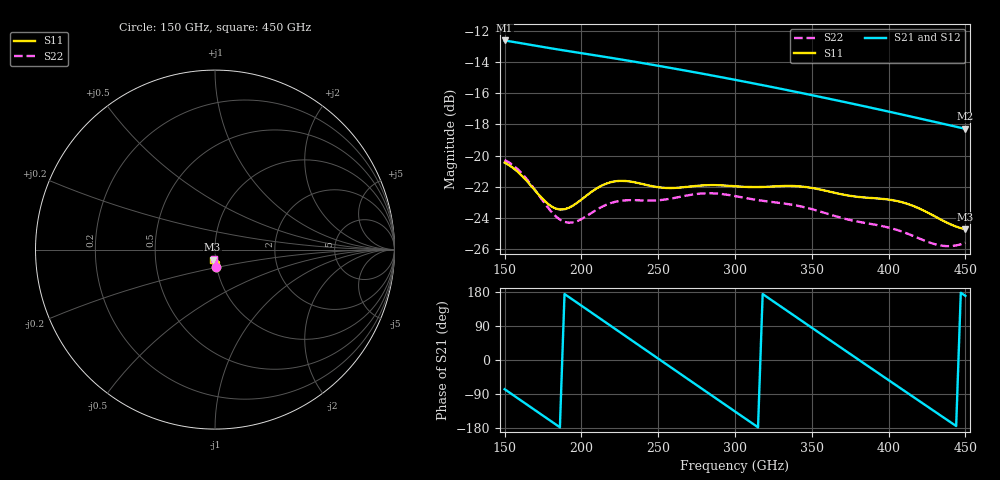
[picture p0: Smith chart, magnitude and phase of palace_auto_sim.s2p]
#  GHZ S DB R 50
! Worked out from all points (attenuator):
!   101 points, 150 GHz to 450 GHz, reference 50 ohm
!   highest |S21| = -12.63 dB at 150 GHz (marker M1); lowest = -18.3 dB at 450 GHz (marker M2)
!   lowest |S11| = -24.7 dB at 450 GHz (marker M3), VSWR 1.12, Z = 48.4 - j5.48 ohm
!   |S11| at or under -10 dB: start of sweep to end of sweep
!   |S22| runs from -25.8 to -20.3 dB; largest |S21 - S12| = 5.1e-16
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150  -20.46 -85.9  -12.63 -77.0  -12.63 -77.0  -20.28 -86.7
162  -21.37 -89.3  -12.83 -110.6  -12.83 -110.6  -21.23 -91.6
177  -22.99 -86.8  -13.08 -152.4  -13.08 -152.4  -23.18 -91.8
189  -23.44 -78.5  -13.27 174.1  -13.27 174.1  -24.25 -84.0
201  -22.74 -73.3  -13.46 140.6  -13.46 140.6  -24.01 -76.1
213  -21.93 -74.5  -13.65 107.1  -13.65 107.1  -23.30 -74.3
225  -21.62 -78.6  -13.83 73.6  -13.83 73.6  -22.90 -76.2
240  -21.83 -82.6  -14.08 31.6  -14.08 31.6  -22.87 -78.6
252  -22.05 -83.6  -14.29 -1.9  -14.29 -1.9  -22.84 -79.3
264  -22.05 -83.9  -14.49 -35.4  -14.49 -35.4  -22.65 -80.5
276  -21.93 -85.3  -14.71 -68.9  -14.71 -68.9  -22.45 -83.1
288  -21.89 -87.4  -14.93 -102.4  -14.93 -102.4  -22.43 -86.5
300  -21.96 -89.3  -15.15 -135.8  -15.15 -135.8  -22.59 -89.6
321  -22.00 -91.7  -15.55 165.7  -15.55 165.7  -22.93 -93.3
336  -21.95 -94.4  -15.85 124.0  -15.85 124.0  -23.13 -96.0
351  -22.09 -97.8  -16.15 82.4  -16.15 82.4  -23.46 -98.8
366  -22.41 -100.1  -16.46 40.8  -16.46 40.8  -23.90 -100.5
378  -22.62 -101.0  -16.71 7.6  -16.71 7.6  -24.19 -101.0
402  -22.85 -103.9  -17.23 -58.7  -17.23 -58.7  -24.66 -102.3
423  -23.53 -107.3  -17.69 -116.5  -17.69 -116.5  -25.43 -101.8
438  -24.29 -106.6  -18.02 -157.8  -18.02 -157.8  -25.80 -97.5
450  -24.72 -103.5  -18.29 169.3  -18.29 169.3  -25.58 -93.2
